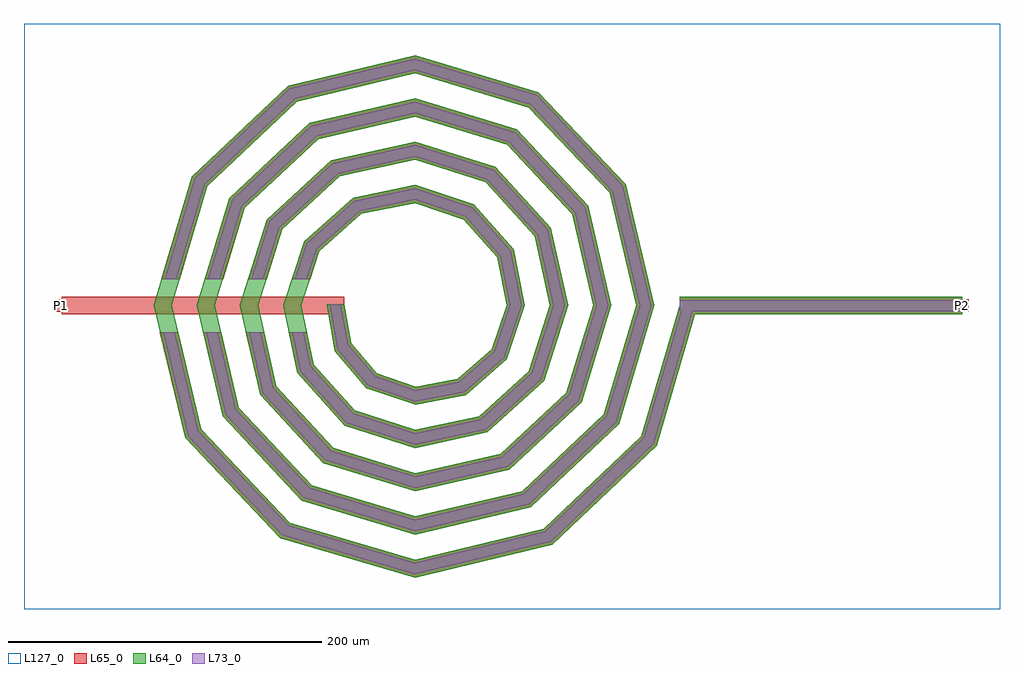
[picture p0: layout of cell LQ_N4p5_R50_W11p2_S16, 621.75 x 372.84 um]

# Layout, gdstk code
import gdstk
lib = gdstk.Library(unit=1e-6, precision=1e-09)
def R(c, l, rs):  # rectangles x0, y0, x1, y1
    for r in rs: c.add(gdstk.rectangle(r[:2], r[2:], *l))
def P(c, l, *ps):  # polygons
    for p in ps: c.add(gdstk.Polygon(p, *l))
L64_0 = (64, 0)
L65_0 = (65, 0)
L73_0 = (73, 0)
L127_0 = (127, 0)

lq_n4p5_r50_w11p2_s16 = lib.new_cell('LQ_N4p5_R50_W11p2_S16')
R(lq_n4p5_r50_w11p2_s16, L64_0, [(168.781,-5.6,348.781,5.6)])
P(lq_n4p5_r50_w11p2_s16, L64_0, [(-40.543,-23.948),(-24.3,-42.986),(0.431,-51.669),(27.339,-46.524),(48.915,-27.78),(58.544,0.385),(52.5,30.74),(31.253,54.85),(0.348,65.42),(-34.148,58.472),(-60.789,34.719),(-72.297,0.317),(-64.442,-37.562),(-38.181,-66.731),(0.292,-79.174),(40.979,-70.41),(72.675,-41.64),(86.051,0.27),(76.376,44.4),(45.095,78.622),(0.251,92.928),(-47.823,82.341),(-84.569,48.549),(-99.806,0.235),(-88.305,-51.248),(-52.001,-90.518),(0.22,-106.684),(54.675,-94.268),(96.467,-55.451),(113.561,0.208),(100.231,58.103),(58.9,102.418),(0.196,120.439),(-61.533,106.192),(-108.369,62.348),(-127.317,0.186),(-112.154,-64.963),(-65.795,-114.321),(0.177,-134.195),(68.395,-118.114),(120.273,-69.241),(141.073,0.169),(124.075,71.827),(72.687,126.225),(0.161,147.951),(-75.259,130.035),(-132.178,76.132),(-154.829,0.154),(-135.995,-78.692),(-79.577,-138.132),(0.148,-161.707),(82.126,-141.955),(144.085,-83.021),(169.009,1.582),(179.752,-1.582),(153.98,-89.067),(87.669,-152.139),(0.148,-173.299),(-85.633,-148.02),(-146.186,-84.225),(-166.42,0.154),(-142.06,82.199),(-80.78,140.232),(0.161,159.542),(78.766,136.1),(134.279,77.334),(152.664,0.169),(130.139,-75.334),(73.888,-128.327),(0.177,-145.785),(-71.902,-124.178),(-122.374,-70.441),(-138.907,0.186),(-118.217,68.471),(-66.994,116.422),(0.196,132.028),(65.041,112.254),(110.471,63.545),(125.15,0.208),(106.292,-61.612),(60.095,-104.52),(0.22,-118.272),(-58.184,-100.328),(-98.57,-56.644),(-111.393,0.235),(-94.363,54.758),(-53.191,92.62),(0.251,104.514),(51.333,88.398),(86.672,49.736),(97.635,0.27),(82.431,-47.911),(46.279,-80.725),(0.292,-90.756),(-44.491,-76.462),(-74.78,-42.818),(-83.877,0.317),(-70.49,41.075),(-39.353,68.836),(0.348,76.997),(37.663,64.516),(62.895,35.883),(70.117,0.385),(58.538,-34.258),(32.406,-56.958),(0.431,-63.236),(-30.86,-52.553),(-51.025,-28.919),(-56.085,0.999),(-45.064,0.999)])
R(lq_n4p5_r50_w11p2_s16, L65_0, [(-224.974,-5.6,-44.974,5.6), (168.781,-5.6,348.781,5.6), (-228.974,-4,-220.974,4), (344.781,-4,352.781,4)])
P(lq_n4p5_r50_w11p2_s16, L65_0, [(-135.995,-78.693),(-79.577,-138.132),(0.148,-161.707),(82.126,-141.955),(144.085,-83.021),(169.009,1.583),(179.752,-1.583),(153.98,-89.067),(87.669,-152.14),(0.148,-173.299),(-85.633,-148.02),(-146.186,-84.225),(-162.355,-16.8),(-150.837,-16.8)],
  [(-112.154,-64.963),(-65.795,-114.321),(0.177,-134.195),(68.395,-118.115),(120.273,-69.242),(141.073,0.169),(124.075,71.827),(72.687,126.225),(0.161,147.951),(-75.259,130.035),(-132.178,76.132),(-149.795,16.8),(-161.478,16.8),(-142.06,82.199),(-80.78,140.232),(0.161,159.542),(78.766,136.1),(134.279,77.334),(152.664,0.169),(130.139,-75.334),(73.888,-128.327),(0.177,-145.785),(-71.902,-124.178),(-122.374,-70.441),(-134.931,-16.8),(-123.428,-16.8)],
  [(-88.305,-51.248),(-52.001,-90.518),(0.22,-106.684),(54.675,-94.268),(96.467,-55.451),(113.561,0.208),(100.231,58.104),(58.9,102.418),(0.196,120.439),(-61.533,106.192),(-108.369,62.348),(-122.17,16.8),(-133.873,16.8),(-118.217,68.471),(-66.994,116.422),(0.196,132.029),(65.041,112.254),(110.471,63.545),(125.15,0.208),(106.292,-61.612),(60.095,-104.52),(0.22,-118.272),(-58.184,-100.328),(-98.57,-56.644),(-107.552,-16.8),(-96.071,-16.8)],
  [(-64.442,-37.562),(-38.181,-66.731),(0.292,-79.174),(40.979,-70.41),(72.675,-41.64),(86.051,0.27),(76.376,44.4),(45.095,78.622),(0.251,92.928),(-47.823,82.341),(-84.569,48.549),(-94.485,16.8),(-106.219,16.8),(-94.363,54.758),(-53.191,92.62),(0.251,104.514),(51.333,88.398),(86.672,49.736),(97.635,0.27),(82.431,-47.911),(46.279,-80.725),(0.292,-90.756),(-44.491,-76.462),(-74.78,-42.818),(-80.267,-16.8),(-68.821,-16.8)],
  [(-24.3,-42.986),(0.431,-51.669),(27.339,-46.524),(48.915,-27.78),(58.544,0.385),(52.5,30.74),(31.253,54.85),(0.348,65.42),(-34.148,58.472),(-60.789,34.719),(-66.675,16.8),(-78.463,16.8),(-70.49,41.075),(-39.353,68.836),(0.348,76.997),(37.663,64.516),(62.895,35.883),(70.117,0.385),(58.538,-34.258),(32.406,-56.958),(0.431,-63.236),(-30.86,-52.553),(-51.025,-28.919),(-56.085,0.999),(-45.064,0.999),(-40.544,-23.948)])
R(lq_n4p5_r50_w11p2_s16, L73_0, [(168.781,-3.6,348.781,3.6)])
P(lq_n4p5_r50_w11p2_s16, L73_0, [(-137.815,-79.68),(-80.658,-139.897),(0.095,-163.777),(83.116,-143.773),(145.852,-84.101),(170.927,1.017),(177.834,-1.017),(152.213,-87.987),(86.679,-150.321),(0.095,-171.229),(-84.551,-146.254),(-144.366,-83.237),(-160.298,-16.8),(-152.894,-16.8)],
  [(-113.979,-65.942),(-66.886,-116.081),(0.114,-136.265),(69.376,-119.938),(122.035,-70.33),(143.143,0.109),(125.897,72.81),(73.773,127.989),(0.104,150.021),(-76.245,131.856),(-133.943,77.216),(-151.881,16.8),(-159.392,16.8),(-140.296,81.116),(-79.794,138.412),(0.104,157.472),(77.681,134.337),(132.457,76.351),(150.594,0.109),(128.377,-74.246),(72.907,-126.503),(0.114,-143.716),(-70.812,-122.418),(-120.549,-69.463),(-132.877,-16.8),(-125.482,-16.8)],
  [(-90.138,-52.212),(-53.105,-92.27),(0.142,-108.753),(55.643,-96.099),(98.222,-56.551),(115.631,0.134),(102.059,59.075),(59.997,104.174),(0.126,122.509),(-62.508,108.019),(-110.128,63.442),(-124.26,16.8),(-131.783,16.8),(-116.458,67.378),(-66.019,114.595),(0.126,129.959),(63.945,110.498),(108.642,62.573),(123.081,0.134),(104.537,-60.512),(59.127,-102.689),(0.142,-116.202),(-57.08,-98.576),(-96.737,-55.68),(-105.502,-16.8),(-98.122,-16.8)],
  [(-66.288,-38.5),(-39.308,-68.469),(0.188,-81.242),(41.925,-72.252),(74.417,-42.76),(88.12,0.174),(78.215,45.353),(46.209,80.367),(0.161,94.997),(-48.782,84.177),(-86.318,49.658),(-96.581,16.8),(-104.124,16.8),(-92.614,53.649),(-52.233,90.785),(0.161,102.445),(50.219,86.652),(84.834,48.783),(95.567,0.174),(80.689,-46.791),(45.332,-78.883),(0.188,-88.688),(-43.364,-74.724),(-72.934,-41.879),(-78.223,-16.8),(-70.865,-16.8)],
  [(-25.471,-44.695),(0.277,-53.734),(28.244,-48.387),(50.634,-28.937),(60.611,0.248),(54.356,31.658),(32.398,56.576),(0.224,67.488),(-35.078,60.323),(-62.522,35.854),(-68.78,16.8),(-76.358,16.8),(-68.758,39.94),(-38.424,66.986),(0.224,74.93),(36.519,62.79),(61.039,34.965),(68.051,0.248),(56.819,-33.101),(31.501,-55.095),(0.277,-61.171),(-29.688,-50.845),(-49.153,-28.031),(-54.117,0.642),(-47.032,0.642),(-42.415,-24.836)])
R(lq_n4p5_r50_w11p2_s16, L127_0, [(-248.974,-193.299,372.781,179.542)])
lq_n4p5_r50_w11p2_s16.add(gdstk.Label('P2', (348.781,0), layer=65, texttype=0))
lq_n4p5_r50_w11p2_s16.add(gdstk.Label('P1', (-224.974,0), layer=65, texttype=0))
lq_n4p5_r50_w11p2_s16.add(gdstk.Label('P2', (352.781,0), layer=145, texttype=0))
lq_n4p5_r50_w11p2_s16.add(gdstk.Label('P1', (-228.974,0), layer=145, texttype=0))

lib.write_gds('LQ_N4p5_R50_W11p2_S16.gds')
